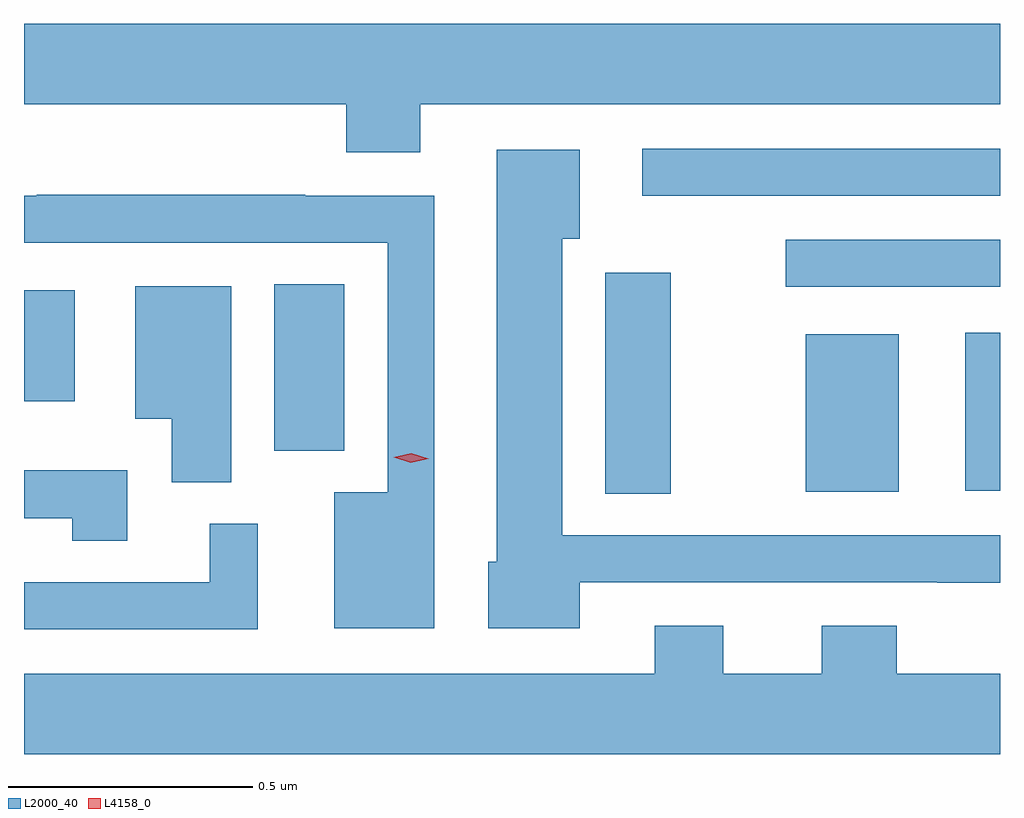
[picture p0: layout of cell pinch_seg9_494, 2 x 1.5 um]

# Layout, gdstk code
import gdstk
lib = gdstk.Library(unit=1e-6, precision=1e-09)
def R(c, l, rs):  # rectangles x0, y0, x1, y1
    for r in rs: c.add(gdstk.rectangle(r[:2], r[2:], *l))
def P(c, l, *ps):  # polygons
    for p in ps: c.add(gdstk.Polygon(p, *l))
L2000_40 = (2000, 40)
L4158_0 = (4158, 0)

pinch_seg9_494 = lib.new_cell('pinch_seg9_494')
R(pinch_seg9_494, L2000_40, [(339.854,1167.649,339.988,1168.102), (340.265,1167.653,340.456,1167.976), (340.592,1167.656,340.663,1167.979), (339.176,1167.737,339.319,1168.079), (338.663,1167.839,338.767,1168.066), (340.224,1168.074,340.663,1168.17), (339.93,1168.26,340.663,1168.356)])
P(pinch_seg9_494, L2000_40, [(339.475,1168.448),(340.663,1168.448),(340.663,1168.612),(338.663,1168.612),(338.663,1168.448),(339.323,1168.448),(339.323,1168.349),(339.475,1168.349)],
  [(339.802,1167.468),(340.534,1167.468),(340.534,1167.467),(340.663,1167.467),(340.663,1167.564),(339.766,1167.564),(339.766,1168.172),(339.802,1168.172),(339.802,1168.354),(339.632,1168.354),(339.632,1167.51),(339.614,1167.51),(339.614,1167.374),(339.802,1167.374)],
  [(339.504,1168.26),(339.239,1168.26),(339.239,1168.262),(338.689,1168.262),(338.689,1168.26),(338.663,1168.26),(338.663,1168.164),(339.408,1168.164),(339.408,1167.652),(339.299,1167.652),(339.299,1167.374),(339.504,1167.374)],
  [(339.088,1168.075),(338.891,1168.075),(338.891,1167.803),(338.966,1167.803),(338.966,1167.673),(339.088,1167.673)],
  [(338.875,1167.697),(338.663,1167.697),(338.663,1167.599),(338.762,1167.599),(338.762,1167.553),(338.875,1167.553)],
  [(339.142,1167.588),(339.044,1167.588),(339.044,1167.468),(338.663,1167.468),(338.663,1167.372),(339.142,1167.372)],
  [(340.663,1167.28),(340.451,1167.28),(340.451,1167.379),(340.298,1167.379),(340.298,1167.28),(340.096,1167.28),(340.096,1167.379),(339.956,1167.379),(339.956,1167.28),(338.663,1167.28),(338.663,1167.116),(340.663,1167.116)])
P(pinch_seg9_494, L4158_0, [(339.456,1167.713),(339.421,1167.724),(339.421,1167.724),(339.421,1167.724),(339.457,1167.732),(339.492,1167.721),(339.492,1167.721),(339.492,1167.721)])

lib.write_gds('pinch_seg9_494.gds')
